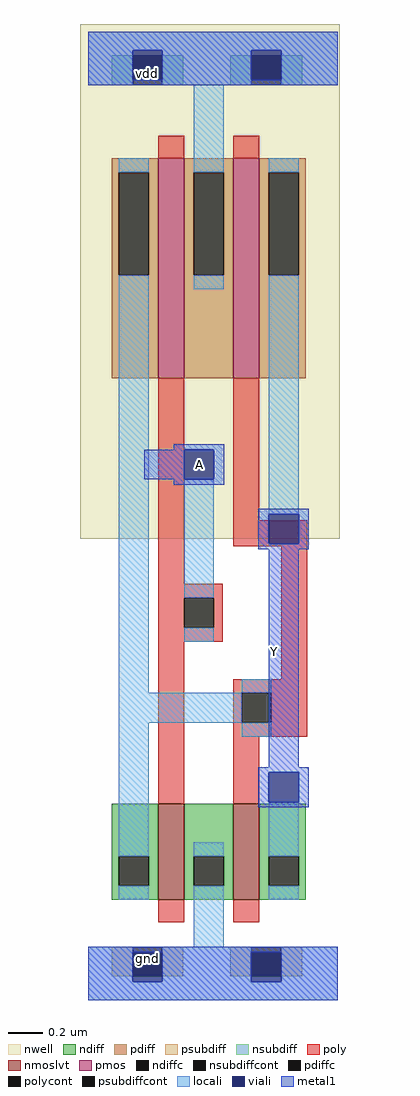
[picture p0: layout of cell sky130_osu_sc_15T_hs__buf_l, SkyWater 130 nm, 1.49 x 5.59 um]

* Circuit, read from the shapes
.subckt sky130_osu_sc_15T_hs__buf_l A Y
XM1 gnd A n1 gnd sky130_fd_pr__nfet_01v8_lvt w=0.55 l=0.15
XM2 Y n1 gnd gnd sky130_fd_pr__nfet_01v8_lvt w=0.55 l=0.15
XM3 vdd A n1 vdd sky130_fd_pr__pfet_01v8 w=1.26 l=0.15
XM4 Y n1 vdd vdd sky130_fd_pr__pfet_01v8 w=1.26 l=0.15
.ends

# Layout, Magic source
magic
tech sky130A
magscale 1 2
<< nwell >>
rect -9 529 288 1119
<< nmoslvt >>
rect 80 115 110 225
rect 166 115 196 225
<< pmos >>
rect 80 713 110 965
rect 166 713 196 965
<< ndiff >>
rect 27 165 80 225
rect 27 131 35 165
rect 69 131 80 165
rect 27 115 80 131
rect 110 165 166 225
rect 110 131 121 165
rect 155 131 166 165
rect 110 115 166 131
rect 196 165 249 225
rect 196 131 207 165
rect 241 131 249 165
rect 196 115 249 131
<< pdiff >>
rect 27 949 80 965
rect 27 831 35 949
rect 69 831 80 949
rect 27 713 80 831
rect 110 949 166 965
rect 110 831 121 949
rect 155 831 166 949
rect 110 713 166 831
rect 196 949 249 965
rect 196 831 207 949
rect 241 831 249 949
rect 196 713 249 831
<< ndiffc >>
rect 35 131 69 165
rect 121 131 155 165
rect 207 131 241 165
<< pdiffc >>
rect 35 831 69 949
rect 121 831 155 949
rect 207 831 241 949
<< psubdiff >>
rect 27 27 51 61
rect 85 27 109 61
rect 163 27 187 61
rect 221 27 245 61
<< nsubdiff >>
rect 27 1049 51 1083
rect 85 1049 109 1083
rect 163 1049 187 1083
rect 221 1049 245 1083
<< psubdiffcont >>
rect 51 27 85 61
rect 187 27 221 61
<< nsubdiffcont >>
rect 51 1049 85 1083
rect 187 1049 221 1083
<< poly >>
rect 80 965 110 991
rect 166 965 196 991
rect 80 477 110 713
rect 166 550 196 713
rect 166 520 251 550
rect 80 461 154 477
rect 80 427 110 461
rect 144 427 154 461
rect 80 411 154 427
rect 80 225 110 411
rect 221 368 251 520
rect 166 352 251 368
rect 166 318 176 352
rect 210 318 251 352
rect 166 302 251 318
rect 166 225 196 302
rect 80 89 110 115
rect 166 89 196 115
<< polycont >>
rect 110 427 144 461
rect 176 318 210 352
<< locali >>
rect 0 1089 286 1110
rect 0 1049 51 1089
rect 85 1049 187 1089
rect 221 1049 286 1089
rect 35 949 69 965
rect 35 352 69 831
rect 121 949 155 1049
rect 121 815 155 831
rect 207 949 241 965
rect 110 461 144 597
rect 207 557 241 831
rect 110 411 144 427
rect 176 352 210 368
rect 35 318 176 352
rect 35 165 69 318
rect 176 302 210 318
rect 35 115 69 131
rect 121 165 155 181
rect 121 61 155 131
rect 207 165 241 227
rect 207 115 241 131
rect 0 21 51 61
rect 85 21 187 61
rect 221 21 286 61
rect 0 0 286 21
<< viali >>
rect 51 1083 85 1089
rect 51 1055 85 1083
rect 187 1083 221 1089
rect 187 1055 221 1083
rect 110 597 144 631
rect 207 523 241 557
rect 207 227 241 261
rect 51 27 85 55
rect 51 21 85 27
rect 187 27 221 55
rect 187 21 221 27
<< metal1 >>
rect 0 1089 286 1110
rect 0 1055 51 1089
rect 85 1055 187 1089
rect 221 1055 286 1089
rect 0 1049 286 1055
rect 98 631 156 637
rect 64 597 110 631
rect 144 597 156 631
rect 98 591 156 597
rect 195 557 253 563
rect 195 523 207 557
rect 241 523 253 557
rect 195 517 253 523
rect 207 267 241 517
rect 195 261 253 267
rect 195 227 207 261
rect 241 227 253 261
rect 195 221 253 227
rect 0 55 286 61
rect 0 21 51 55
rect 85 21 187 55
rect 221 21 286 55
rect 0 0 286 21
<< labels >>
rlabel viali 127 614 127 614 1 A
port 1 n
rlabel metal1 214 400 214 400 1 Y
port 2 n
rlabel viali 68 48 68 48 1 gnd
rlabel viali 68 1062 68 1062 1 vdd
<< end >>
